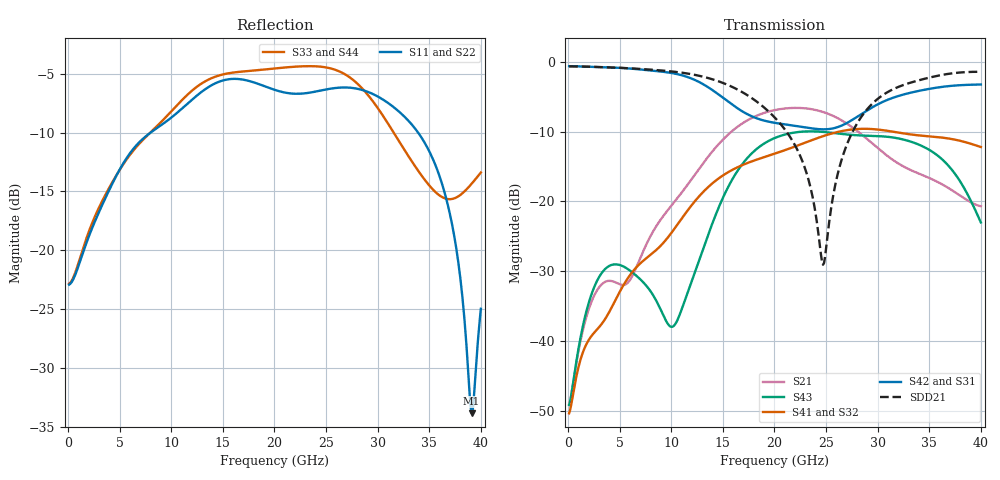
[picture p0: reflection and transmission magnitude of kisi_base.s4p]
! E_s8_L1L3_p800_round_g2: pair L1→L3, pitch 0.8 mm, two round antipads, 2 GND vias
! stackup: 8-layer 1.6 mm FR-4 (generic)
! ports: 1 P near, 2 N near, 3 P far, 4 N far
! kisi-fdtd, conformal, dfine 0.035 mm, 737685 cells
# Hz S RI R 50
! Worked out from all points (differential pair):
!   400 points, 100 MHz to 40 GHz, reference 50 ohm
!   strongest paths, dB at 100 MHz, 10.1 GHz, 20.1 GHz, 30.1 GHz, 40 GHz:
!     S42: -0.6, -1.6, -8.8, -6.0, -3.3
!     S31: -0.6, -1.6, -8.8, -6.0, -3.3
!     S41: -50.3, -24.3, -13.1, -9.7, -12.2
!     S32: -50.3, -24.3, -13.1, -9.7, -12.2
!     S43: -49.1, -37.9, -10.9, -10.7, -23.0
!     S21: -49.0, -20.4, -6.9, -12.5, -20.7
!   taken as a pair (ports 2,1 in; 4,3 out), SDD21 dB: -0.7, -1.4, -8.1, -5.2, -1.5
!   lowest |S11| = -33.9 dB at 39.1 GHz (marker M1), VSWR 1.04, Z = 52.1 + j0.198 ohm
!   |S11| at or under -10 dB: start of sweep to 7.984 GHz; 33.92 GHz to end of sweep
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1e8  -0.0714 -0.00236  0.00349 0.000658  0.9272 -0.0353  0.00295 -0.000802
     0.00349 0.000658  -0.0714 -0.00236  0.00295 -0.000802  0.9272 -0.0353
     0.9272 -0.0353  0.00295 -0.000801  -0.0721 -0.00226  0.00344 0.000684
     0.00295 -0.000801  0.9272 -0.0353  0.00344 0.000684  -0.0721 -0.00226
8.1e9  -0.0115 0.3187  0.0573 -0.012  -0.8604 -0.0675  0.00818 0.0414
       0.0573 -0.012  -0.0115 0.3187  0.00818 0.0414  -0.8604 -0.0675
       -0.8604 -0.0675  0.00818 0.0414  -0.00235 0.3205  -0.00531 -0.0215
       0.00818 0.0414  -0.8604 -0.0675  -0.00531 -0.0215  -0.00235 0.3205
1.49e10  0.0973 -0.5167  -0.2661 -0.056  0.4719 0.3008  -0.1086 -0.1059
         -0.2661 -0.056  0.0973 -0.5167  -0.1086 -0.1059  0.4719 0.3008
         0.4719 0.3008  -0.1089 -0.1056  0.1853 -0.5263  -0.0994 -0.0233
         -0.1089 -0.1056  0.4719 0.3008  -0.0994 -0.0233  0.1853 -0.5263
2.32e10  -0.1336 0.447  0.3151 -0.3373  -0.0405 -0.3342  0.087 -0.252
         0.3151 -0.3373  -0.1336 0.447  0.087 -0.252  -0.0405 -0.3342
         -0.0405 -0.3342  0.0871 -0.2526  -0.0302 0.6057  0.1662 -0.2701
         0.0871 -0.2526  -0.0405 -0.3342  0.1662 -0.2701  -0.0302 0.6057
2.98e10  0.2372 -0.3892  -0.1601 0.1895  -0.4665 0.1361  0.025 0.3267
         -0.1601 0.1895  0.2372 -0.3892  0.025 0.3267  -0.4665 0.1361
         -0.4665 0.1361  0.0238 0.327  0.2312 -0.3441  -0.0407 0.2912
         0.0238 0.327  -0.4665 0.1361  -0.0407 0.2912  0.2312 -0.3441
3.91e10  0.0202 0.0019  -0.0602 -0.0773  0.5633 -0.3877  -0.2354 -0.1065
         -0.0602 -0.0773  0.0202 0.0019  -0.2354 -0.1065  0.5633 -0.3877
         0.5633 -0.3877  -0.2338 -0.1083  -0.1495 0.12  -0.0824 -0.0541
         -0.2338 -0.1083  0.5633 -0.3877  -0.0824 -0.0541  -0.1495 0.12
4e10  -0.0004 -0.0564  -0.0881 -0.0277  0.4062 -0.5528  -0.2457 -0.0103
      -0.0881 -0.0277  -0.0004 -0.0564  -0.2457 -0.0103  0.4062 -0.5528
      0.4062 -0.5528  -0.2447 -0.0125  -0.1386 0.1631  -0.0705 -0.00611
      -0.2447 -0.0125  0.4062 -0.5528  -0.0705 -0.00611  -0.1386 0.1631
